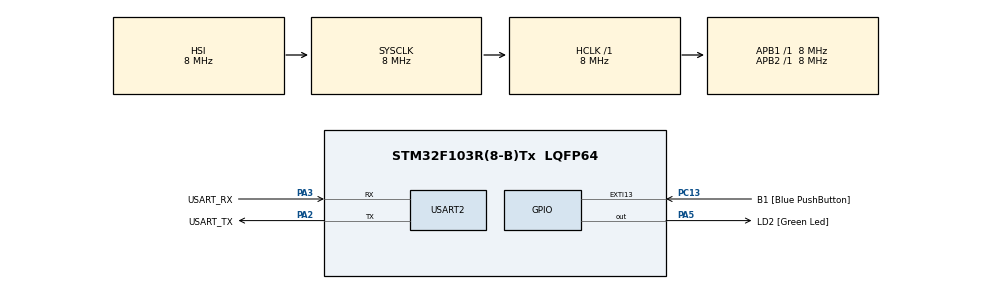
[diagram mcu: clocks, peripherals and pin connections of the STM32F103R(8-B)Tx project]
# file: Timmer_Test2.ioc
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Mcu.Family=STM32F1
Mcu.Name=STM32F103R(8-B)Tx
Mcu.Package=LQFP64
NVIC.EXTI15_10_IRQn=true\:0\:0\:false\:false\:true\:true\:true\:true
NVIC.PriorityGroup=NVIC_PRIORITYGROUP_4
NVIC.TIM1_CC_IRQn=true\:0\:0\:false\:false\:true\:true\:true\:true
NVIC.TIM1_UP_IRQn=true\:0\:0\:false\:false\:true\:true\:true\:true
PA13.GPIO_Label=TMS
PA13.Mode=Serial_Wire
PA13.Signal=SYS_JTMS-SWDIO
PA14.GPIO_Label=TCK
PA14.Mode=Serial_Wire
PA14.Signal=SYS_JTCK-SWCLK
PA2.GPIO_Label=USART_TX
PA2.GPIO_Mode=GPIO_MODE_AF_PP
PA2.GPIO_PuPd=GPIO_NOPULL
PA2.GPIO_Speed=GPIO_SPEED_FREQ_LOW
PA2.Mode=Asynchronous
PA2.Signal=USART2_TX
PA3.GPIO_Label=USART_RX
PA3.GPIO_Mode=GPIO_MODE_AF_PP
PA3.GPIO_PuPd=GPIO_NOPULL
PA3.GPIO_Speed=GPIO_SPEED_FREQ_LOW
PA3.Mode=Asynchronous
PA3.Signal=USART2_RX
PA5.GPIO_Label=LD2 [Green Led]
PA5.GPIO_ModeDefaultOutputPP=GPIO_MODE_OUTPUT_PP
PA5.GPIO_PuPd=GPIO_NOPULL
PA5.GPIO_Speed=GPIO_SPEED_FREQ_LOW
PA5.Signal=GPIO_Output
PB3.GPIO_Label=SWO
PB3.Signal=SYS_JTDO-TRACESWO
PC13-TAMPER-RTC.GPIO_Label=B1 [Blue PushButton]
PC13-TAMPER-RTC.GPIO_PuPd=GPIO_NOPULL
PC13-TAMPER-RTC.Signal=GPXTI13
PC14-OSC32_IN.Mode=LSE-External-Oscillator
PC14-OSC32_IN.Signal=RCC_OSC32_IN
PC15-OSC32_OUT.Mode=LSE-External-Oscillator
PC15-OSC32_OUT.Signal=RCC_OSC32_OUT
PD0-OSC_IN.Mode=HSE-External-Clock-Source
PD0-OSC_IN.Signal=RCC_OSC_IN
PD1-OSC_OUT.Mode=HSE-External-Clock-Source
PD1-OSC_OUT.Signal=RCC_OSC_OUT
ProjectManager.HeapSize=0x200
ProjectManager.StackSize=0x400
ProjectManager.TargetToolchain=STM32CubeIDE
RCC.AHBFreq_Value=8000000
RCC.APB1Freq_Value=8000000
RCC.APB1TimFreq_Value=8000000
RCC.APB2Freq_Value=8000000
RCC.APB2TimFreq_Value=8000000
RCC.HCLKFreq_Value=8000000
RCC.PLLMUL=RCC_PLL_MUL16
RCC.RTCClockSelection=RCC_RTCCLKSOURCE_LSE
RCC.SYSCLKFreq_VALUE=8000000
RCC.USBFreq_Value=64000000
USART2.VirtualMode=VM_ASYNC
VP_TIM1_VS_ClockSourceINT.Mode=Internal
board=NUCLEO-F103RB

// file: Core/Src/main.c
/* USER CODE BEGIN Header */
/**
  ******************************************************************************
  * @file           : main.c
  * @brief          : Main program body
  ******************************************************************************
  * @attention
  *
  * Copyright (c) 2024 STMicroelectronics.
  * All rights reserved.
  *
  * This software is licensed under terms that can be found in the LICENSE file
  * in the root directory of this software component.
  * If no LICENSE file comes with this software, it is provided AS-IS.
  *
  ******************************************************************************
  */
/* USER CODE END Header */
#include "main.h"

/* USER CODE BEGIN Includes */
#include<stdio.h>
/* USER CODE END Includes */

TIM_HandleTypeDef htim1;

UART_HandleTypeDef huart2;

void SystemClock_Config(void);
static void MX_GPIO_Init(void);
static void MX_USART2_UART_Init(void);
static void MX_TIM1_Init(void);
void HAL_TIM_PeriodElapsedCallback(TIM_HandleTypeDef *htim);
uint32_t GetExtendedCounter(void);
/* USER CODE BEGIN PFP */
#ifdef __GNUC__
#define PUTCHAR_PROTOTYPE int __io_putchar(int ch)
#else
#define PUTCHAR_PROTOTYPE int fputc(int ch, FILE *f)
#endif

PUTCHAR_PROTOTYPE
{
  HAL_UART_Transmit(&huart2, (uint8_t *)&ch, 1, HAL_MAX_DELAY);
  return ch;
}
/* USER CODE END PFP */

/* USER CODE BEGIN 0 */
uint32_t overflowCount = 0U;
/* USER CODE END 0 */

int main(void)
{

  /* MCU Configuration--------------------------------------------------------*/

  /* Reset of all peripherals, Initializes the Flash interface and the Systick. */
  HAL_Init();

  /* Configure the system clock */
  SystemClock_Config();

  /* Initialize all configured peripherals */
  MX_GPIO_Init();
  MX_USART2_UART_Init();
  MX_TIM1_Init();

  /* Infinite loop */
  while (1)
  {

    /* USER CODE BEGIN 3 */
	  uint32_t Time = GetExtendedCounter();
	  printf("Time : %lu\r\n", Time);
	  HAL_Delay(100);
  }
  /* USER CODE END 3 */
}

void SystemClock_Config(void)
{
  RCC_OscInitTypeDef RCC_OscInitStruct = {0};
  RCC_ClkInitTypeDef RCC_ClkInitStruct = {0};

  /** Initializes the RCC Oscillators according to the specified parameters
  * in the RCC_OscInitTypeDef structure.
  */
  RCC_OscInitStruct.OscillatorType = RCC_OSCILLATORTYPE_HSI;
  RCC_OscInitStruct.HSIState = RCC_HSI_ON;
  RCC_OscInitStruct.HSICalibrationValue = RCC_HSICALIBRATION_DEFAULT;
  RCC_OscInitStruct.PLL.PLLState = RCC_PLL_NONE;
  if (HAL_RCC_OscConfig(&RCC_OscInitStruct) != HAL_OK)
  {
    Error_Handler();
  }

  /** Initializes the CPU, AHB and APB buses clocks
  */
  RCC_ClkInitStruct.ClockType = RCC_CLOCKTYPE_HCLK|RCC_CLOCKTYPE_SYSCLK
                              |RCC_CLOCKTYPE_PCLK1|RCC_CLOCKTYPE_PCLK2;
  RCC_ClkInitStruct.SYSCLKSource = RCC_SYSCLKSOURCE_HSI;
  RCC_ClkInitStruct.AHBCLKDivider = RCC_SYSCLK_DIV1;
  RCC_ClkInitStruct.APB1CLKDivider = RCC_HCLK_DIV1;
  RCC_ClkInitStruct.APB2CLKDivider = RCC_HCLK_DIV1;

  if (HAL_RCC_ClockConfig(&RCC_ClkInitStruct, FLASH_LATENCY_0) != HAL_OK)
  {
    Error_Handler();
  }
}

static void MX_TIM1_Init(void)
{

  TIM_ClockConfigTypeDef sClockSourceConfig = {0};
  TIM_MasterConfigTypeDef sMasterConfig = {0};

  htim1.Instance = TIM1;
  htim1.Init.Prescaler = 0;
  htim1.Init.CounterMode = TIM_COUNTERMODE_UP;
  htim1.Init.Period = 65535;
  htim1.Init.ClockDivision = TIM_CLOCKDIVISION_DIV1;
  htim1.Init.RepetitionCounter = 0;
  htim1.Init.AutoReloadPreload = TIM_AUTORELOAD_PRELOAD_DISABLE;
  if (HAL_TIM_Base_Init(&htim1) != HAL_OK)
  {
    Error_Handler();
  }
  sClockSourceConfig.ClockSource = TIM_CLOCKSOURCE_INTERNAL;
  if (HAL_TIM_ConfigClockSource(&htim1, &sClockSourceConfig) != HAL_OK)
  {
    Error_Handler();
  }
  sMasterConfig.MasterOutputTrigger = TIM_TRGO_RESET;
  sMasterConfig.MasterSlaveMode = TIM_MASTERSLAVEMODE_DISABLE;
  if (HAL_TIMEx_MasterConfigSynchronization(&htim1, &sMasterConfig) != HAL_OK)
  {
    Error_Handler();
  }

}

static void MX_USART2_UART_Init(void)
{

  huart2.Instance = USART2;
  huart2.Init.BaudRate = 115200;
  huart2.Init.WordLength = UART_WORDLENGTH_8B;
  huart2.Init.StopBits = UART_STOPBITS_1;
  huart2.Init.Parity = UART_PARITY_NONE;
  huart2.Init.Mode = UART_MODE_TX_RX;
  huart2.Init.HwFlowCtl = UART_HWCONTROL_NONE;
  huart2.Init.OverSampling = UART_OVERSAMPLING_16;
  if (HAL_UART_Init(&huart2) != HAL_OK)
  {
    Error_Handler();
  }

}

static void MX_GPIO_Init(void)
{
  GPIO_InitTypeDef GPIO_InitStruct = {0};

  /* GPIO Ports Clock Enable */
  __HAL_RCC_GPIOC_CLK_ENABLE();
  __HAL_RCC_GPIOD_CLK_ENABLE();
  __HAL_RCC_GPIOA_CLK_ENABLE();
  __HAL_RCC_GPIOB_CLK_ENABLE();

  /*Configure GPIO pin Output Level */
  HAL_GPIO_WritePin(LD2_GPIO_Port, LD2_Pin, GPIO_PIN_RESET);

  /*Configure GPIO pin : B1_Pin */
  GPIO_InitStruct.Pin = B1_Pin;
  GPIO_InitStruct.Mode = GPIO_MODE_IT_RISING;
  GPIO_InitStruct.Pull = GPIO_NOPULL;
  HAL_GPIO_Init(B1_GPIO_Port, &GPIO_InitStruct);

  /*Configure GPIO pin : LD2_Pin */
  GPIO_InitStruct.Pin = LD2_Pin;
  GPIO_InitStruct.Mode = GPIO_MODE_OUTPUT_PP;
  GPIO_InitStruct.Pull = GPIO_NOPULL;
  GPIO_InitStruct.Speed = GPIO_SPEED_FREQ_LOW;
  HAL_GPIO_Init(LD2_GPIO_Port, &GPIO_InitStruct);

  /* EXTI interrupt init*/
  HAL_NVIC_SetPriority(EXTI15_10_IRQn, 0, 0);
  HAL_NVIC_EnableIRQ(EXTI15_10_IRQn);

}

/* USER CODE BEGIN 4 */
void HAL_TIM_PeriodElapsedCallback(TIM_HandleTypeDef *htim) {
    if (htim->Instance == TIM1) {
        overflowCount++; // 오버플로우 발생 시 카운터 증가
    }
    printf("\r\n OverFlow %lu \r\n", overflowCount);
}

uint32_t GetExtendedCounter(void) {
    uint32_t counter = __HAL_TIM_GET_COUNTER(&htim1);
    uint32_t overflow = overflowCount;

if (__HAL_TIM_GET_FLAG(&htim1, TIM_FLAG_UPDATE) && (counter < 0x8000)) {
    overflow++;
}
printf("\r\noverflow : %lu counter : %lu\r\n", overflow, counter);
return (overflow << 16) + counter;
}
/* USER CODE END 4 */

void Error_Handler(void)
{
  __disable_irq();
  while (1)
  {
  }
}
